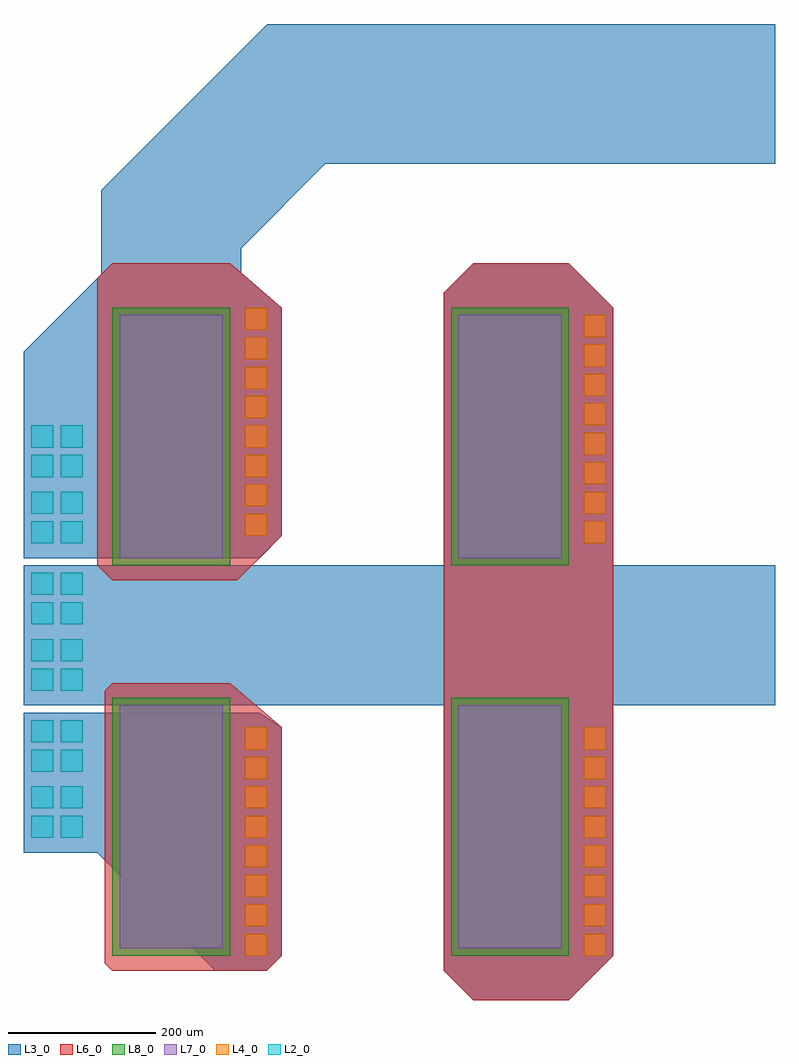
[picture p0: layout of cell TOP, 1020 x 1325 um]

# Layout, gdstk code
import gdstk
lib = gdstk.Library(unit=1e-6, precision=1e-06)
def R(c, l, rs):  # rectangles x0, y0, x1, y1
    for r in rs: c.add(gdstk.rectangle(r[:2], r[2:], *l))
def A(c, l, x, y, w, h, nx, ny, dx, dy):  # array of equal rectangles
    R(c, l, [(x+i*dx, y+j*dy, x+i*dx+w, y+j*dy+h) for i in range(nx) for j in range(ny)])
def P(c, l, *ps):  # polygons
    for p in ps: c.add(gdstk.Polygon(p, *l))
L2_0 = (2, 0)
L3_0 = (3, 0)
L4_0 = (4, 0)
L6_0 = (6, 0)
L7_0 = (7, 0)
L8_0 = (8, 0)

top = lib.new_cell('TOP')
R(top, L2_0, [(10,220,40,250), (50,220,80,250), (10,260,40,290), (50,260,80,290), (10,310,40,340), (50,310,80,340), (10,350,40,380), (50,350,80,380), (10,420,40,450), (50,420,80,450), (10,460,40,490), (50,460,80,490), (10,510,40,540), (50,510,80,540), (10,550,40,580), (50,550,80,580), (10,620,40,650), (50,620,80,650), (10,660,40,690), (50,660,80,690), (10,710,40,740), (50,710,80,740), (10,750,40,780), (50,750,80,780)])
A(top, L3_0, 0, 200, 90, 190, 1, 3, 0, 200)
R(top, L3_0, [(0,400,1020,590)])
P(top, L3_0, [(260,40),(100,200),(0,200),(0,390),(320,390),(350,370),(350,60),(330,40)],
  [(0,600),(0,880),(120,1000),(280,1000),(350,940),(350,630),(320,600)],
  [(610,0),(570,40),(570,960),(610,1000),(740,1000),(800,940),(800,60),(740,0)])
A(top, L4_0, 300, 60, 30, 30, 1, 8, 0, 40)
A(top, L4_0, 760, 60, 30, 30, 1, 8, 0, 40)
A(top, L4_0, 760, 620, 30, 30, 1, 8, 0, 40)
A(top, L4_0, 300, 630, 30, 30, 1, 8, 0, 40)
R(top, L6_0, [(580,60,740,410), (580,590,740,940)])
P(top, L6_0, [(120,40),(110,50),(110,420),(120,430),(280,430),(350,370),(350,60),(330,40)],
  [(120,570),(100,590),(100,980),(120,1000),(280,1000),(350,940),(350,630),(290,570)],
  [(610,0),(570,40),(570,960),(610,1000),(740,1000),(800,940),(800,60),(740,0)],
  [(120,60),(120,400),(120,410),(280,410),(280,60)],
  [(120,590),(120,930),(120,940),(280,940),(280,590)])
R(top, L7_0, [(130,70,270,400), (590,70,730,400), (130,600,270,930), (590,600,730,930)])
R(top, L8_0, [(120,60,280,410), (580,60,740,410), (120,590,280,940), (580,590,740,940)])
top.add(gdstk.FlexPath([(200,830),(200,1060),(370,1230),(1020,1230)], 190, ends="flush", simple_path=True, layer=3, datatype=0))  # L3_0

lib.write_gds('TOP.gds')
